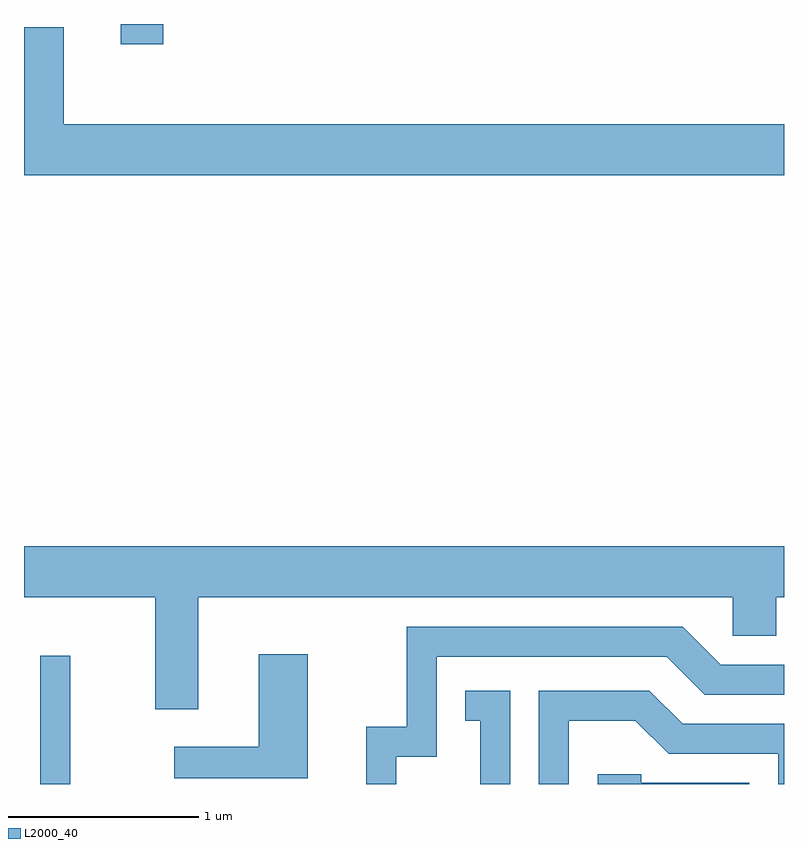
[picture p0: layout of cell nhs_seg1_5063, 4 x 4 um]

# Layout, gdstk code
import gdstk
lib = gdstk.Library(unit=1e-6, precision=1e-09)
def R(c, l, rs):  # rectangles x0, y0, x1, y1
    for r in rs: c.add(gdstk.rectangle(r[:2], r[2:], *l))
def P(c, l, *ps):  # polygons
    for p in ps: c.add(gdstk.Polygon(p, *l))
L2000_40 = (2000, 40)

nhs_seg1_5063 = lib.new_cell('nhs_seg1_5063')
R(nhs_seg1_5063, L2000_40, [(337.696,889.712,337.854,890.388), (338.121,893.606,338.344,893.712)])
P(nhs_seg1_5063, L2000_40, [(341.611,893.184),(337.819,893.184),(337.819,893.694),(337.611,893.694),(337.611,892.916),(341.611,892.916)],
  [(338.529,890.696),(341.341,890.696),(341.341,890.491),(341.569,890.491),(341.569,890.696),(341.611,890.696),(341.611,890.964),(337.611,890.964),(337.611,890.696),(338.301,890.696),(338.301,890.106),(338.529,890.106)],
  [(339.569,889.856),(339.784,889.856),(339.784,890.381),(340.994,890.381),(341.194,890.181),(341.611,890.181),(341.611,890.339),(341.277,890.339),(341.077,890.539),(339.626,890.539),(339.626,890.014),(339.411,890.014),(339.411,889.712),(339.569,889.712)],
  [(339.104,890.394),(338.846,890.394),(338.846,889.909),(338.403,889.909),(338.403,889.741),(339.104,889.741)],
  [(340.169,890.204),(339.933,890.204),(339.933,890.046),(340.011,890.046),(340.011,889.712),(340.169,889.712)],
  [(340.479,890.046),(340.829,890.046),(341.004,889.871),(341.581,889.871),(341.581,889.712),(341.611,889.712),(341.611,890.029),(341.077,890.029),(340.902,890.204),(340.321,890.204),(340.321,889.712),(340.479,889.712)],
  [(341.429,889.719),(340.859,889.719),(340.859,889.764),(340.631,889.764),(340.631,889.712),(341.429,889.712)])

lib.write_gds('nhs_seg1_5063.gds')
